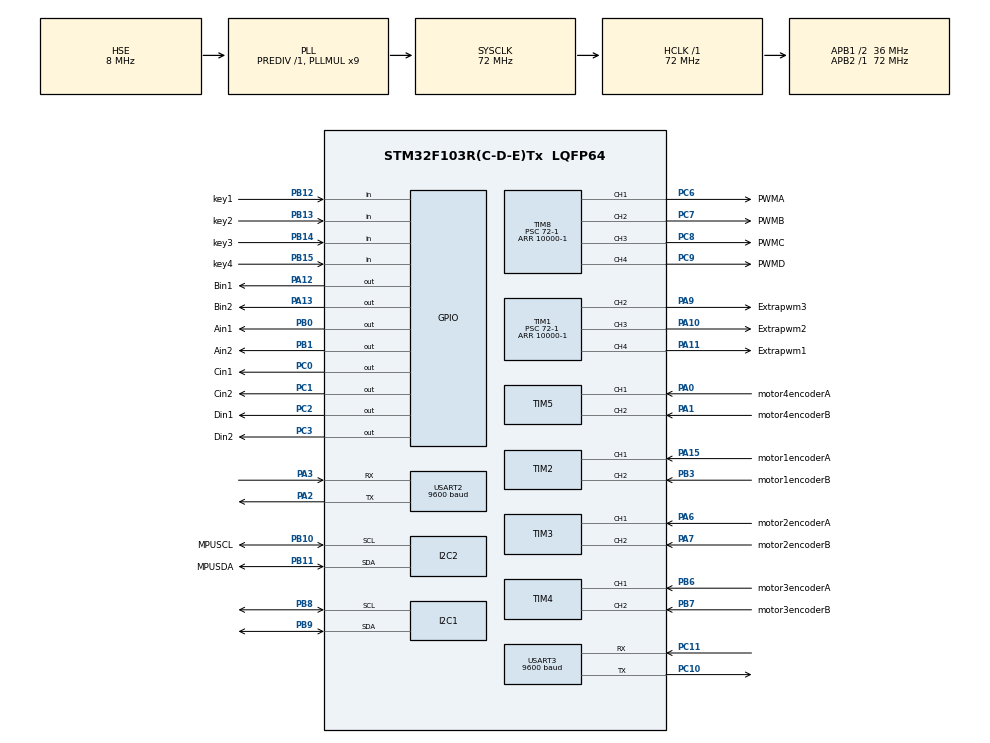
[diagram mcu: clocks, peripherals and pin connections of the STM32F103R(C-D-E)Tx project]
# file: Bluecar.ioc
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Dma.I2C1_RX.0.Direction=DMA_PERIPH_TO_MEMORY
Dma.I2C1_RX.0.Instance=DMA1_Channel7
Dma.I2C1_RX.0.MemDataAlignment=DMA_MDATAALIGN_BYTE
Dma.I2C1_RX.0.MemInc=DMA_MINC_ENABLE
Dma.I2C1_RX.0.Mode=DMA_NORMAL
Dma.I2C1_RX.0.PeriphDataAlignment=DMA_PDATAALIGN_BYTE
Dma.I2C1_RX.0.PeriphInc=DMA_PINC_DISABLE
Dma.I2C1_RX.0.Priority=DMA_PRIORITY_LOW
Dma.I2C1_TX.1.Direction=DMA_MEMORY_TO_PERIPH
Dma.I2C1_TX.1.Instance=DMA1_Channel6
Dma.I2C1_TX.1.MemDataAlignment=DMA_MDATAALIGN_BYTE
Dma.I2C1_TX.1.MemInc=DMA_MINC_ENABLE
Dma.I2C1_TX.1.Mode=DMA_NORMAL
Dma.I2C1_TX.1.PeriphDataAlignment=DMA_PDATAALIGN_BYTE
Dma.I2C1_TX.1.PeriphInc=DMA_PINC_DISABLE
Dma.I2C1_TX.1.Priority=DMA_PRIORITY_LOW
Dma.Request0=I2C1_RX
Dma.Request1=I2C1_TX
Mcu.Family=STM32F1
Mcu.Name=STM32F103R(C-D-E)Tx
Mcu.Package=LQFP64
NVIC.DMA1_Channel6_IRQn=true\:0\:0\:false\:false\:true\:false\:true\:true
NVIC.DMA1_Channel7_IRQn=true\:0\:0\:false\:false\:true\:false\:true\:true
NVIC.PriorityGroup=NVIC_PRIORITYGROUP_4
NVIC.TIM2_IRQn=true\:0\:0\:false\:false\:true\:true\:true\:true
NVIC.TIM3_IRQn=true\:0\:0\:false\:false\:true\:true\:true\:true
NVIC.TIM4_IRQn=true\:0\:0\:false\:false\:true\:true\:true\:true
NVIC.TIM5_IRQn=true\:0\:0\:false\:false\:true\:true\:true\:true
NVIC.TIM6_IRQn=true\:1\:0\:true\:false\:true\:true\:true\:true
NVIC.USART2_IRQn=true\:0\:0\:false\:false\:true\:true\:true\:true
NVIC.USART3_IRQn=true\:0\:0\:false\:false\:true\:true\:true\:true
PA0-WKUP.GPIO_Label=motor4encoderA
PA0-WKUP.GPIO_PuPd=GPIO_PULLUP
PA0-WKUP.Signal=S_TIM5_CH1
PA1.GPIO_Label=motor4encoderB
PA1.GPIO_PuPd=GPIO_PULLUP
PA1.Signal=S_TIM5_CH2
PA10.GPIO_Label=Extrapwm2
PA10.Signal=S_TIM1_CH3
PA11.GPIO_Label=Extrapwm1
PA11.Signal=S_TIM1_CH4
PA12.GPIO_Label=Bin1
PA12.Signal=GPIO_Output
PA13.GPIO_Label=Bin2
PA13.Signal=GPIO_Output
PA15.GPIO_Label=motor1encoderA
PA15.GPIO_PuPd=GPIO_PULLUP
PA15.Signal=S_TIM2_CH1_ETR
PA2.Mode=Asynchronous
PA2.Signal=USART2_TX
PA3.Mode=Asynchronous
PA3.Signal=USART2_RX
PA6.GPIO_Label=motor2encoderA
PA6.GPIO_PuPd=GPIO_PULLUP
PA6.Signal=S_TIM3_CH1
PA7.GPIO_Label=motor2encoderB
PA7.GPIO_PuPd=GPIO_PULLUP
PA7.Signal=S_TIM3_CH2
PA9.GPIO_Label=Extrapwm3
PA9.Signal=S_TIM1_CH2
PB0.GPIO_Label=Ain1
PB0.Signal=GPIO_Output
PB1.GPIO_Label=Ain2
PB1.Signal=GPIO_Output
PB10.GPIO_Label=MPUSCL
PB10.Mode=I2C
PB10.Signal=I2C2_SCL
PB11.GPIO_Label=MPUSDA
PB11.Mode=I2C
PB11.Signal=I2C2_SDA
PB12.GPIO_Label=key1
PB12.GPIO_PuPd=GPIO_PULLUP
PB12.Signal=GPIO_Input
PB13.GPIO_Label=key2
PB13.GPIO_PuPd=GPIO_PULLUP
PB13.Signal=GPIO_Input
PB14.GPIO_Label=key3
PB14.GPIO_PuPd=GPIO_PULLUP
PB14.Signal=GPIO_Input
PB15.GPIO_Label=key4
PB15.GPIO_PuPd=GPIO_PULLUP
PB15.Signal=GPIO_Input
PB3.GPIO_Label=motor1encoderB
PB3.GPIO_PuPd=GPIO_PULLUP
PB3.Signal=S_TIM2_CH2
PB6.GPIO_Label=motor3encoderA
PB6.GPIO_PuPd=GPIO_PULLUP
PB6.Signal=S_TIM4_CH1
PB7.GPIO_Label=motor3encoderB
PB7.GPIO_PuPd=GPIO_PULLUP
PB7.Signal=S_TIM4_CH2
PB8.Mode=I2C
PB8.Signal=I2C1_SCL
PB9.Mode=I2C
PB9.Signal=I2C1_SDA
PC0.GPIO_Label=Cin1
PC0.Signal=GPIO_Output
PC1.GPIO_Label=Cin2
PC1.Signal=GPIO_Output
PC10.Mode=Asynchronous
PC10.Signal=USART3_TX
PC11.Mode=Asynchronous
PC11.Signal=USART3_RX
PC2.GPIO_Label=Din1
PC2.Signal=GPIO_Output
PC3.GPIO_Label=Din2
PC3.Signal=GPIO_Output
PC6.GPIO_Label=PWMA
PC6.Signal=S_TIM8_CH1
PC7.GPIO_Label=PWMB
PC7.Signal=S_TIM8_CH2
PC8.GPIO_Label=PWMC
PC8.Signal=S_TIM8_CH3
PC9.GPIO_Label=PWMD
PC9.Signal=S_TIM8_CH4
PD0-OSC_IN.Mode=HSE-External-Oscillator
PD0-OSC_IN.Signal=RCC_OSC_IN
PD1-OSC_OUT.Mode=HSE-External-Oscillator
PD1-OSC_OUT.Signal=RCC_OSC_OUT
ProjectManager.HeapSize=0x800
ProjectManager.StackSize=0x800
ProjectManager.TargetToolchain=MDK-ARM V5
RCC.AHBFreq_Value=72000000
RCC.APB1CLKDivider=RCC_HCLK_DIV2
RCC.APB1Freq_Value=36000000
RCC.APB1TimFreq_Value=72000000
RCC.APB2Freq_Value=72000000
RCC.APB2TimFreq_Value=72000000
RCC.HCLKFreq_Value=72000000
RCC.PLLMUL=RCC_PLL_MUL9
RCC.PLLSourceVirtual=RCC_PLLSOURCE_HSE
RCC.SYSCLKFreq_VALUE=72000000
RCC.SYSCLKSource=RCC_SYSCLKSOURCE_PLLCLK
RCC.USBFreq_Value=72000000
SH.S_TIM1_CH2.0=TIM1_CH2,PWM Generation2 CH2
SH.S_TIM1_CH3.0=TIM1_CH3,Output Compare3 CH3
SH.S_TIM1_CH4.0=TIM1_CH4,PWM Generation4 CH4
SH.S_TIM2_CH1_ETR.0=TIM2_CH1,Encoder_Interface
SH.S_TIM2_CH2.0=TIM2_CH2,Encoder_Interface
SH.S_TIM3_CH1.0=TIM3_CH1,Encoder_Interface
SH.S_TIM3_CH2.0=TIM3_CH2,Encoder_Interface
SH.S_TIM4_CH1.0=TIM4_CH1,Encoder_Interface
SH.S_TIM4_CH2.0=TIM4_CH2,Encoder_Interface
SH.S_TIM5_CH1.0=TIM5_CH1,Encoder_Interface
SH.S_TIM5_CH2.0=TIM5_CH2,Encoder_Interface
SH.S_TIM8_CH1.0=TIM8_CH1,PWM Generation1 CH1
SH.S_TIM8_CH2.0=TIM8_CH2,PWM Generation2 CH2
SH.S_TIM8_CH3.0=TIM8_CH3,PWM Generation3 CH3
SH.S_TIM8_CH4.0=TIM8_CH4,PWM Generation4 CH4
TIM1.AutoReloadPreload=TIM_AUTORELOAD_PRELOAD_ENABLE
TIM1.Channel-Output\ Compare3\ CH3=TIM_CHANNEL_3
TIM1.Channel-PWM\ Generation2\ CH2=TIM_CHANNEL_2
TIM1.Channel-PWM\ Generation4\ CH4=TIM_CHANNEL_4
TIM1.Period=10000-1
TIM1.Prescaler=72-1
TIM2.EncoderMode=TIM_ENCODERMODE_TI12
TIM2.IC1Filter=6
TIM2.IC2Filter=6
TIM3.EncoderMode=TIM_ENCODERMODE_TI12
TIM3.IC1Filter=6
TIM3.IC2Filter=6
TIM4.EncoderMode=TIM_ENCODERMODE_TI12
TIM4.IC1Filter=6
TIM4.IC2Filter=6
TIM5.EncoderMode=TIM_ENCODERMODE_TI12
TIM5.IC1Filter=6
TIM5.IC2Filter=6
TIM6.Period=10000-1
TIM6.Prescaler=72-1
TIM8.AutoReloadPreload=TIM_AUTORELOAD_PRELOAD_ENABLE
TIM8.Channel-PWM\ Generation1\ CH1=TIM_CHANNEL_1
TIM8.Channel-PWM\ Generation2\ CH2=TIM_CHANNEL_2
TIM8.Channel-PWM\ Generation3\ CH3=TIM_CHANNEL_3
TIM8.Channel-PWM\ Generation4\ CH4=TIM_CHANNEL_4
TIM8.Period=10000-1
TIM8.Prescaler=72-1
USART2.BaudRate=9600
USART2.VirtualMode=VM_ASYNC
USART3.BaudRate=9600
USART3.VirtualMode=VM_ASYNC
VP_SYS_VS_ND.Mode=No_Debug
VP_TIM6_VS_ClockSourceINT.Mode=Enable_Timer
VP_TIM8_VS_ClockSourceINT.Mode=Internal
board=custom

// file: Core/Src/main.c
/* USER CODE BEGIN Header */
/**
  ******************************************************************************
  * @file           : main.c
  * @brief          : Main program body
  ******************************************************************************
  * @attention
  *
  * Copyright (c) 2022 STMicroelectronics.
  * All rights reserved.
  *
  * This software is licensed under terms that can be found in the LICENSE file
  * in the root directory of this software component.
  * If no LICENSE file comes with this software, it is provided AS-IS.
  *
  ******************************************************************************
  */
/* USER CODE END Header */
#include "main.h"
#include "dma.h"
#include "i2c.h"
#include "tim.h"
#include "usart.h"
#include "gpio.h"
#include "math.h"

/* USER CODE BEGIN Includes */
#define USE_HAL_LEGACY
#if   defined(USE_HAL_LEGACY)
#include "Legacy/stm32_hal_legacy.h"
#endif
#include<stdio.h>
#include  "oled.h"
#include "stdio.h"
#include "string.h"
#include "Encoder.h"
#include "niming.h"
/* USER CODE END Includes */

/* USER CODE BEGIN PV */
uint8_t BLUdata;
uint8_t REDdata = 0;
uint8_t RXEbuff[64];
uint8_t RXEcount;
int16_t rho_err = 0;
extern int g_Encoder_M1_Now;
extern int g_Encoder_M2_Now;
extern int g_Encoder_M3_Now;
extern int g_Encoder_M4_Now;
extern short encoderPulse[4];
char E1[20] ,E2[20],E3[20],E4[20];
extern float motorspeed1,motorspeed2, motorspeed3, motorspeed4;
/* USER CODE END PV */

void SystemClock_Config(void);

int main(void)
{

  /* MCU Configuration--------------------------------------------------------*/

  /* Reset of all peripherals, Initializes the Flash interface and the Systick. */
  HAL_Init();

  /* Configure the system clock */
  SystemClock_Config();

  /* Initialize all configured peripherals */
  MX_GPIO_Init();
  MX_I2C1_Init();
  MX_I2C2_Init();
  MX_TIM1_Init();
  MX_TIM2_Init();
  MX_TIM3_Init();
  MX_TIM5_Init();
  MX_TIM8_Init();
  MX_DMA_Init();
  MX_USART2_UART_Init();
  MX_TIM6_Init();
  MX_TIM4_Init();
  MX_USART3_UART_Init();
  /* USER CODE BEGIN 2 */
  __HAL_UART_ENABLE_IT(&huart3,UART_IT_RXNE);
	__HAL_UART_ENABLE_IT(&huart2,UART_IT_RXNE);
  OLED_Init();
  OLED_Fill(0x00);
  OLED_ShowString(0,0,(uint8_t*)"Ready?!!",2);
  HAL_UART_Receive_IT(&huart3,&BLUdata,1);
	HAL_UART_Receive_IT(&huart2,&REDdata,1);
  HAL_UART_Transmit(&huart3,(unsigned char*)"I am ready for your command\r\n",27,2000);
//  HAL_TIM_PWM_Start(&htim3,TIM_CHANNEL_1);
//  HAL_TIM_PWM_Start(&htim3,TIM_CHANNEL_2);
//  HAL_TIM_PWM_Start(&htim3,TIM_CHANNEL_3);
//  HAL_TIM_PWM_Start(&htim3,TIM_CHANNEL_4);
  motorpwminit();// Better 电机初始化优化为一行代码
  HAL_TIM_Base_Start_IT(&htim6);//定时器中断
  Encoderinit();
  HAL_GPIO_WritePin(key4_GPIO_Port,key4_Pin,GPIO_PIN_SET);//一个调试按钮

  /* USER CODE END 2 */

  /* Infinite loop */
  while (1)
  {

    /* USER CODE BEGIN 3 */
	  keyscan();
//	  sprintf(E1,"%d",g_Encoder_M1_Now);// Everytime use microLib，测总上电后脉冲式
//	  sprintf(E2,"%d",g_Encoder_M2_Now);
//	  sprintf(E3,"%d",g_Encoder_M3_Now);
//	  sprintf(E4,"%d",g_Encoder_M4_Now);
//	  sprintf(E1,"%d",encoderPulse[0]);//测10ms内的脉冲数变化量
//	  sprintf(E2,"%d",encoderPulse[1]);
//	  sprintf(E3,"%d",encoderPulse[2]);
//	  sprintf(E4,"%d",encoderPulse[3]);
//	  sprintf(E1,"%.2f",motorspeed1);//测10ms内的速度
//	  sprintf(E2,"%.2f",motorspeed2);
//	  sprintf(E3,"%.2f",motorspeed3);
//	  sprintf(E4,"%.2f",motorspeed4);
//	  sprintf(E1,"%d",(int)motorspeed1);//测10ms内的速度
//	  sprintf(E2,"%d",(int)motorspeed2);
//	  sprintf(E3,"%d",(int)motorspeed3);
//	  sprintf(E4,"%d",(int)motorspeed4);
//	  HAL_UART_Transmit(&huart3,(unsigned char*)"E1:",4,0xff);
//	  HAL_UART_Transmit(&huart3,(unsigned char*)E1,5,0xff);
//	  HAL_UART_Transmit(&huart3,(unsigned char*)"E2:",4,0xff);
//	  HAL_UART_Transmit(&huart3,(unsigned char*)E2,5,0xff);
//	  HAL_UART_Transmit(&huart3,(unsigned char*)"E3:",4,0xff);
//	  HAL_UART_Transmit(&huart3,(unsigned char*)E3,5,0xff);
//	  HAL_UART_Transmit(&huart3,(unsigned char*)"E4:",4,0xff);
//	  HAL_UART_Transmit(&huart3,(unsigned char*)E4,5,0xff);
//	  HAL_UART_Transmit(&huart3,(unsigned char*)"\n",3,0xff);
//	  OLED_ShowString(0,5,(uint8_t*)E1,2);
	  ANO_DT_Send_F2((int)motorspeed1,(int)motorspeed2,(int)motorspeed3,(int)motorspeed4);
	  //HAL_Delay(10);
  }
  /* USER CODE END 3 */
}

void SystemClock_Config(void)
{
  RCC_OscInitTypeDef RCC_OscInitStruct = {0};
  RCC_ClkInitTypeDef RCC_ClkInitStruct = {0};

  /** Initializes the RCC Oscillators according to the specified parameters
  * in the RCC_OscInitTypeDef structure.
  */
  RCC_OscInitStruct.OscillatorType = RCC_OSCILLATORTYPE_HSE;
  RCC_OscInitStruct.HSEState = RCC_HSE_ON;
  RCC_OscInitStruct.HSEPredivValue = RCC_HSE_PREDIV_DIV1;
  RCC_OscInitStruct.HSIState = RCC_HSI_ON;
  RCC_OscInitStruct.PLL.PLLState = RCC_PLL_ON;
  RCC_OscInitStruct.PLL.PLLSource = RCC_PLLSOURCE_HSE;
  RCC_OscInitStruct.PLL.PLLMUL = RCC_PLL_MUL9;
  if (HAL_RCC_OscConfig(&RCC_OscInitStruct) != HAL_OK)
  {
    Error_Handler();
  }

  /** Initializes the CPU, AHB and APB buses clocks
  */
  RCC_ClkInitStruct.ClockType = RCC_CLOCKTYPE_HCLK|RCC_CLOCKTYPE_SYSCLK
                              |RCC_CLOCKTYPE_PCLK1|RCC_CLOCKTYPE_PCLK2;
  RCC_ClkInitStruct.SYSCLKSource = RCC_SYSCLKSOURCE_PLLCLK;
  RCC_ClkInitStruct.AHBCLKDivider = RCC_SYSCLK_DIV1;
  RCC_ClkInitStruct.APB1CLKDivider = RCC_HCLK_DIV2;
  RCC_ClkInitStruct.APB2CLKDivider = RCC_HCLK_DIV1;

  if (HAL_RCC_ClockConfig(&RCC_ClkInitStruct, FLASH_LATENCY_2) != HAL_OK)
  {
    Error_Handler();
  }
}

/* USER CODE BEGIN 4 */
void HAL_UART_RxCpltCallback(UART_HandleTypeDef *huart)
	{
		HAL_UART_Receive_IT(&huart3,&BLUdata,1);
		HAL_UART_Receive_IT(&huart2,&REDdata,1);
		if(huart->Instance == USART2)
		{
			RXEbuff[RXEcount++] = REDdata;
			if (REDdata == ']')
			{
				rho_err = 0;
				for (uint8_t i = 2; i < RXEcount; i++)
				{
					if (RXEbuff[i] != '[' || RXEbuff[i] != ']')
						rho_err += (int16_t) pow(10.0, RXEcount - 2 - i) * (RXEbuff[i] - '0');
				}
				if (RXEbuff[1] == '-')
					rho_err *= -1;
				if (rho_err > 50 || rho_err < -50)
					rho_err = 0;
				printf("Received String:%s, Computed to interger:%d\n", (unsigned char*)RXEbuff, rho_err);
				//HAL_UART_Transmit(&huart2, (unsigned char*) RXEbuff, RXEcount, 0xff);
				RXEcount = 0;
				memset(RXEbuff, 0, sizeof(RXEbuff));
			}
			if (RXEcount == 63)
			{
				RXEcount = 0;
				memset(RXEbuff, 0, sizeof(RXEbuff));
			}
		}
		if(huart->Instance == USART3)
			{
				if(BLUdata==0x2A)//Using Hex
					{
						//printf("slow forward");
						ForwardandBackward(2500);//negative one means forward is right,not setting in convention because of lazy

					}
				else if(BLUdata==0x2B)
					{
						HAL_UART_Transmit(&huart3,(unsigned char*)"Backward!\n",11,0xff);
						ForwardandBackward(-2500);

					}
				else if(BLUdata==0x2d)
					{
						HAL_UART_Transmit(&huart3,(unsigned char*)"Leftrotation\n",14,0xff);
						LeftandRightRotation(-2000);
					}
				else if(BLUdata==0x2c)
					{
						HAL_UART_Transmit(&huart3,(unsigned char*)"Rightrotation\n",15,0xff);
						LeftandRightRotation(2000);
					}
				else if(BLUdata==0x2e)
					{
						HAL_UART_Transmit(&huart3,(unsigned char*)"Stop\n",6,0xff);
						STOPALL();
					}
//				else if(BLUdata==0x2f)//Using ASCII
//					{
//						//printf("Rush\r\n");
//						Forwardandbackward(-400);

//
//					}
//				 else if(BLUdata==0x3A)//Using ASCII
//					{
//						//printf("backward 400");
//						Forwardandbackward(400);
//
//					}
//				 else if(BLUdata==0x3B)//Using ASCII
//					{
//						//printf("800");
//						Forwardandbackward(-900);
//
//
//
//					}
//				 else if(BLUdata==0x3C)//Using ASCII
//					{
//						//printf("backward 300");
//						Forwardandbackward(300);
//
//					}
//				 else if(BLUdata==0x4A)//leftside forward
//					{
//						//printf("a little leftside forward");
//						leftbackward(300);
//						Rightbackward(230);
//
//					}
//				 else if(BLUdata==0x4C)//forward toward a little right ----->car toward a little right while forward
//					{
//						//printf("a little rightside forward");
//						leftbackward(230);
//						Rightbackward(340);
//					}
//				 else if(BLUdata==0x9C)//forward toward a big right ----->car toward a big right while forward
//					{
//						//printf("Big rightside forward");
//						leftbackward(430);
//						Rightbackward(595);
//					}
//				 else if(BLUdata==0x6C)//forward toward a big left ----->car toward a big left while forward
//					{
//						//printf("a big leftside forward");
//						leftbackward(555);
//						Rightbackward(430);
//					}

			}

	}

//定时器相关中断函数
void HAL_TIM_PeriodElapsedCallback(TIM_HandleTypeDef *htim) //这个是每10ms获取一次中断
	{
	if(htim == &htim6)
		{
			Encoder_combinationread();
			//HAL_UART_Transmit(&huart1,(unsigned char*)"ok\n",3,0xff);
		}
	}

/* USER CODE END 4 */

void Error_Handler(void)
{
  __disable_irq();
  while (1)
  {
  }
}
